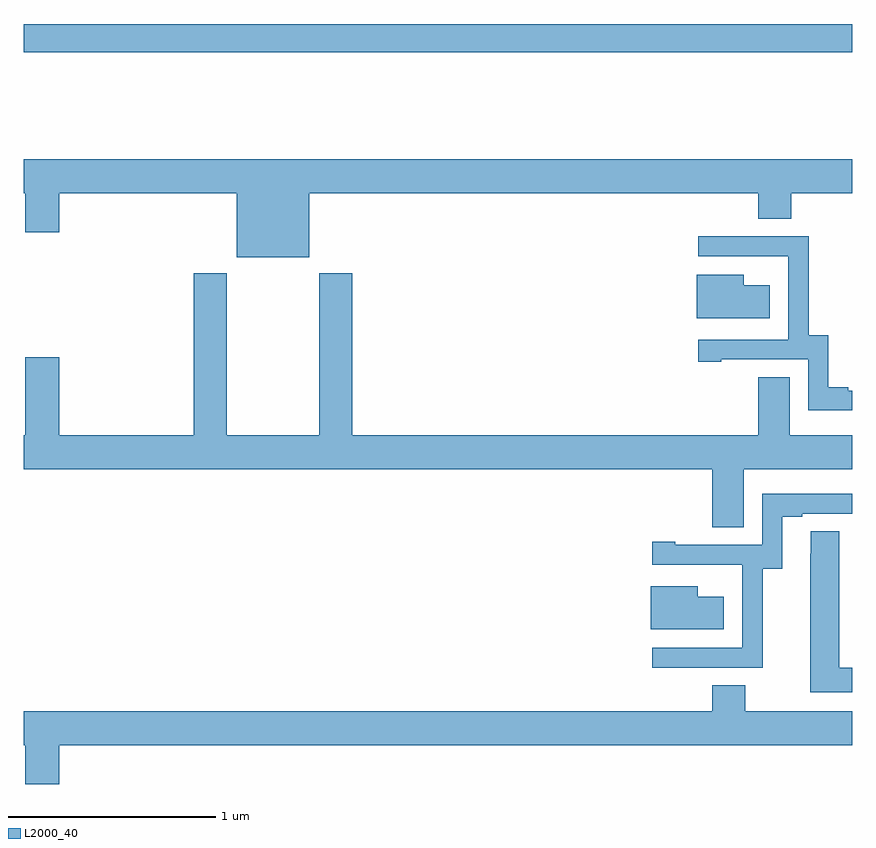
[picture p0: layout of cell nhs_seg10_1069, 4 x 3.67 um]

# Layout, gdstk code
import gdstk
lib = gdstk.Library(unit=1e-6, precision=1e-09)
def R(c, l, rs):  # rectangles x0, y0, x1, y1
    for r in rs: c.add(gdstk.rectangle(r[:2], r[2:], *l))
def P(c, l, *ps):  # polygons
    for p in ps: c.add(gdstk.Polygon(p, *l))
L2000_40 = (2000, 40)

nhs_seg10_1069 = lib.new_cell('nhs_seg10_1069')
R(nhs_seg10_1069, L2000_40, [(165,1310.32,169,1310.456)])
P(nhs_seg10_1069, L2000_40, [(166.378,1309.64),(168.545,1309.64),(168.545,1309.516),(168.705,1309.516),(168.705,1309.64),(169,1309.64),(169,1309.804),(165,1309.804),(165,1309.64),(165.008,1309.64),(165.008,1309.452),(165.172,1309.452),(165.172,1309.64),(166.028,1309.64),(166.028,1309.331),(166.378,1309.331)],
  [(169,1308.687),(168.979,1308.687),(168.979,1308.702),(168.883,1308.702),(168.883,1308.953),(168.789,1308.953),(168.789,1309.431),(168.255,1309.431),(168.255,1309.335),(168.689,1309.335),(168.689,1309.334),(168.69,1309.334),(168.69,1308.933),(168.255,1308.933),(168.255,1308.825),(168.367,1308.825),(168.367,1308.837),(168.786,1308.837),(168.786,1308.591),(169,1308.591)],
  [(168.475,1308.308),(169,1308.308),(169,1308.472),(168.697,1308.472),(168.697,1308.752),(168.545,1308.752),(168.545,1308.472),(166.586,1308.472),(166.586,1309.252),(166.426,1309.252),(166.426,1308.472),(165.981,1308.472),(165.981,1309.252),(165.821,1309.252),(165.821,1308.472),(165.172,1308.472),(165.172,1308.847),(165.008,1308.847),(165.008,1308.472),(165,1308.472),(165,1308.308),(168.323,1308.308),(168.323,1308.028),(168.475,1308.028)],
  [(168.601,1309.195),(168.475,1309.195),(168.475,1309.246),(168.248,1309.246),(168.248,1309.037),(168.601,1309.037)],
  [(168.567,1307.827),(168.661,1307.827),(168.661,1308.078),(168.757,1308.078),(168.757,1308.093),(169,1308.093),(169,1308.189),(168.564,1308.189),(168.564,1307.943),(168.145,1307.943),(168.145,1307.956),(168.033,1307.956),(168.033,1307.847),(168.467,1307.847),(168.467,1307.846),(168.468,1307.846),(168.468,1307.445),(168.033,1307.445),(168.033,1307.349),(168.567,1307.349)],
  [(169,1307.348),(168.937,1307.348),(168.937,1308.008),(168.798,1308.008),(168.798,1307.9),(168.797,1307.9),(168.797,1307.232),(169,1307.232)],
  [(168.379,1307.692),(168.253,1307.692),(168.253,1307.743),(168.026,1307.743),(168.026,1307.534),(168.379,1307.534)],
  [(165.172,1306.976),(169,1306.976),(169,1307.14),(168.483,1307.14),(168.483,1307.264),(168.323,1307.264),(168.323,1307.14),(165,1307.14),(165,1306.976),(165.008,1306.976),(165.008,1306.788),(165.172,1306.788)])

lib.write_gds('nhs_seg10_1069.gds')
